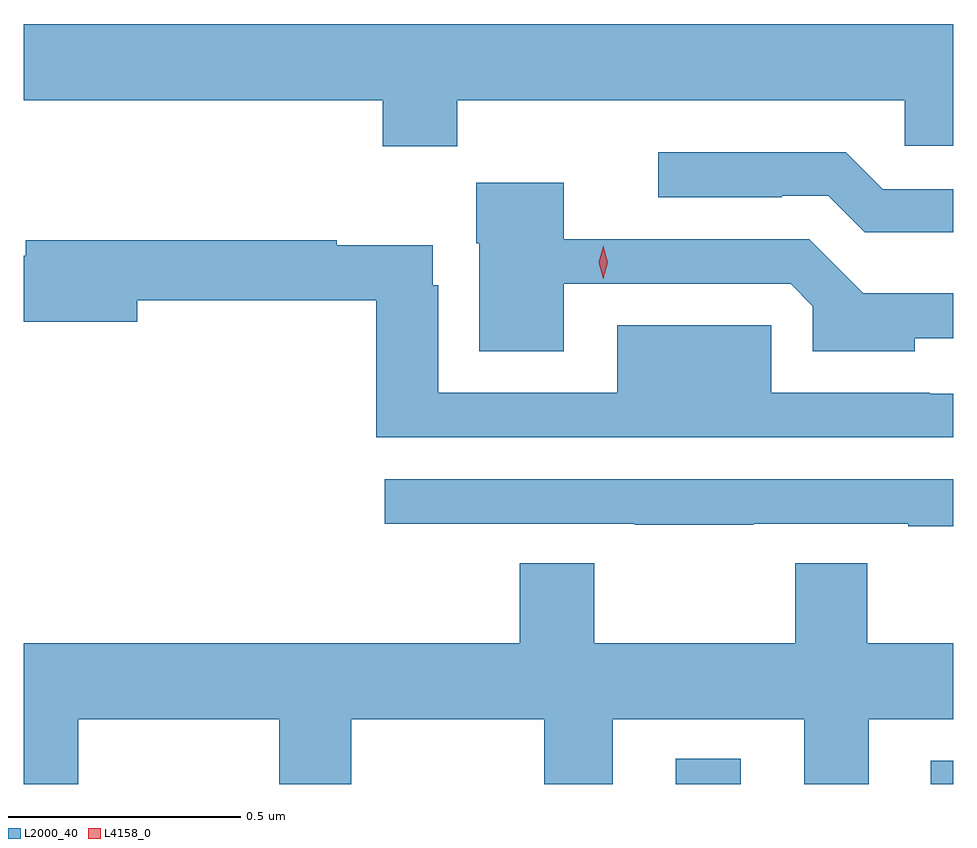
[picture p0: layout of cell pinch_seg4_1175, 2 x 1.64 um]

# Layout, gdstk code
import gdstk
lib = gdstk.Library(unit=1e-6, precision=1e-09)
def R(c, l, rs):  # rectangles x0, y0, x1, y1
    for r in rs: c.add(gdstk.rectangle(r[:2], r[2:], *l))
def P(c, l, *ps):  # polygons
    for p in ps: c.add(gdstk.Polygon(p, *l))
L2000_40 = (2000, 40)
L4158_0 = (4158, 0)

pinch_seg4_1175 = lib.new_cell('pinch_seg4_1175')
R(pinch_seg4_1175, L2000_40, [(443.939,762.049,444.079,762.103), (444.487,762.049,444.536,762.099)])
P(pinch_seg4_1175, L2000_40, [(443.469,763.52),(444.432,763.52),(444.432,763.422),(444.536,763.422),(444.536,763.684),(442.536,763.684),(442.536,763.52),(443.309,763.52),(443.309,763.421),(443.469,763.421)],
  [(444.536,763.329),(444.384,763.329),(444.305,763.408),(443.901,763.408),(443.901,763.311),(444.167,763.311),(444.167,763.314),(444.267,763.314),(444.345,763.236),(444.536,763.236)],
  [(443.698,763.125),(444.186,763.125),(444.234,763.077),(444.234,762.98),(444.453,762.98),(444.453,763.008),(444.536,763.008),(444.536,763.105),(444.342,763.105),(444.226,763.221),(443.698,763.221),(443.698,763.342),(443.51,763.342),(443.51,763.212),(443.516,763.212),(443.516,762.98),(443.698,762.98)],
  [(444.536,762.889),(444.485,762.889),(444.485,762.891),(444.144,762.891),(444.144,763.036),(443.813,763.036),(443.813,762.891),(443.428,762.891),(443.428,763.122),(443.416,763.122),(443.416,763.208),(443.21,763.208),(443.21,763.219),(442.541,763.219),(442.541,763.185),(442.536,763.185),(442.536,763.043),(442.78,763.043),(442.78,763.09),(443.294,763.09),(443.294,762.795),(444.536,762.795)],
  [(444.536,762.705),(443.313,762.705),(443.313,762.609),(443.851,762.609),(443.851,762.607),(444.107,762.607),(444.107,762.609),(444.439,762.609),(444.439,762.604),(444.536,762.604)],
  [(442.653,762.188),(443.086,762.188),(443.086,762.049),(443.241,762.049),(443.241,762.188),(443.656,762.188),(443.656,762.049),(443.803,762.049),(443.803,762.188),(444.215,762.188),(444.215,762.049),(444.354,762.049),(444.354,762.188),(444.536,762.188),(444.536,762.352),(444.351,762.352),(444.351,762.524),(444.196,762.524),(444.196,762.352),(443.763,762.352),(443.763,762.524),(443.603,762.524),(443.603,762.352),(442.536,762.352),(442.536,762.049),(442.653,762.049)])
P(pinch_seg4_1175, L4158_0, [(443.783,763.136),(443.783,763.136),(443.773,763.171),(443.783,763.206),(443.783,763.207),(443.783,763.206),(443.793,763.171),(443.783,763.136)])

lib.write_gds('pinch_seg4_1175.gds')
